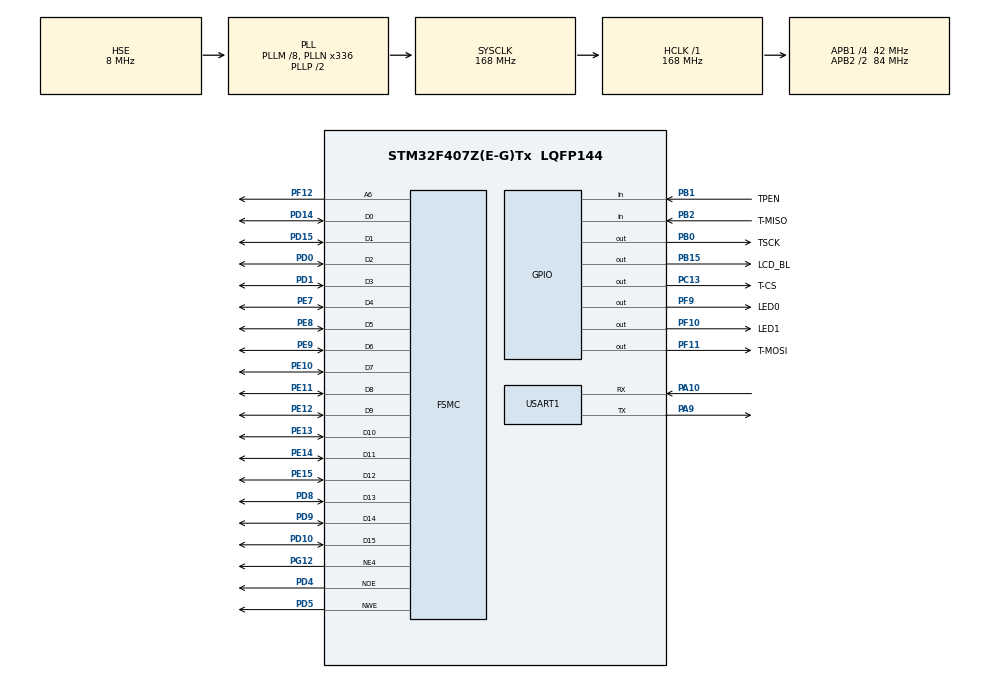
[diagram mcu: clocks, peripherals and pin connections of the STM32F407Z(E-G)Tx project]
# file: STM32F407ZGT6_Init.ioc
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FSMC.AddressSetupTime1=0x0F
FSMC.BusTurnAroundDuration1=0
FSMC.DataSetupTime1=60
FSMC.ExtendedAddressSetupTime1=9
FSMC.ExtendedBusTurnAroundDuration1=0
FSMC.ExtendedDataSetupTime1=9
FSMC.ExtendedMode1=FSMC_EXTENDED_MODE_ENABLE
Mcu.Family=STM32F4
Mcu.Name=STM32F407Z(E-G)Tx
Mcu.Package=LQFP144
NVIC.PriorityGroup=NVIC_PRIORITYGROUP_4
NVIC.USART1_IRQn=true\:2\:0\:true\:false\:true\:true\:true\:true
PA10.Mode=Asynchronous
PA10.Signal=USART1_RX
PA13.Mode=Serial_Wire
PA13.Signal=SYS_JTMS-SWDIO
PA14.Mode=Serial_Wire
PA14.Signal=SYS_JTCK-SWCLK
PA9.Mode=Asynchronous
PA9.Signal=USART1_TX
PB0.GPIO_Label=TSCK
PB0.Signal=GPIO_Output
PB1.GPIO_Label=TPEN
PB1.GPIO_PuPd=GPIO_PULLUP
PB1.Signal=GPIO_Input
PB15.GPIO_Label=LCD_BL
PB15.Signal=GPIO_Output
PB2.GPIO_Label=T-MISO
PB2.GPIO_PuPd=GPIO_PULLUP
PB2.Signal=GPIO_Input
PC13-ANTI_TAMP.GPIO_Label=T-CS
PC13-ANTI_TAMP.Signal=GPIO_Output
PD0.Signal=FSMC_D2_DA2
PD1.Signal=FSMC_D3_DA3
PD10.Signal=FSMC_D15_DA15
PD14.Signal=FSMC_D0_DA0
PD15.Signal=FSMC_D1_DA1
PD4.Signal=FSMC_NOE
PD5.Signal=FSMC_NWE
PD8.Signal=FSMC_D13_DA13
PD9.Signal=FSMC_D14_DA14
PE10.Signal=FSMC_D7_DA7
PE11.Signal=FSMC_D8_DA8
PE12.Signal=FSMC_D9_DA9
PE13.Signal=FSMC_D10_DA10
PE14.Signal=FSMC_D11_DA11
PE15.Signal=FSMC_D12_DA12
PE7.Signal=FSMC_D4_DA4
PE8.Signal=FSMC_D5_DA5
PE9.Signal=FSMC_D6_DA6
PF10.GPIO_Label=LED1
PF10.GPIO_PuPd=GPIO_PULLUP
PF10.Signal=GPIO_Output
PF11.GPIO_Label=T-MOSI
PF11.Signal=GPIO_Output
PF12.Signal=FSMC_A6
PF9.GPIO_Label=LED0
PF9.GPIO_PuPd=GPIO_PULLUP
PF9.Signal=GPIO_Output
PG12.Mode=NorPsramChipSelect4_1
PG12.Signal=FSMC_NE4
PH0-OSC_IN.Mode=HSE-External-Oscillator
PH0-OSC_IN.Signal=RCC_OSC_IN
PH1-OSC_OUT.Mode=HSE-External-Oscillator
PH1-OSC_OUT.Signal=RCC_OSC_OUT
ProjectManager.HeapSize=0x800
ProjectManager.StackSize=0x1000
ProjectManager.TargetToolchain=MDK-ARM V5.32
RCC.48MHZClocksFreq_Value=84000000
RCC.AHBFreq_Value=168000000
RCC.APB1CLKDivider=RCC_HCLK_DIV4
RCC.APB1Freq_Value=42000000
RCC.APB1TimFreq_Value=84000000
RCC.APB2CLKDivider=RCC_HCLK_DIV2
RCC.APB2Freq_Value=84000000
RCC.APB2TimFreq_Value=168000000
RCC.CortexFreq_Value=168000000
RCC.HCLKFreq_Value=168000000
RCC.HSE_VALUE=8000000
RCC.HSI_VALUE=16000000
RCC.LSE_VALUE=32768
RCC.PLLM=8
RCC.PLLN=336
RCC.PLLSourceVirtual=RCC_PLLSOURCE_HSE
RCC.SYSCLKFreq_VALUE=168000000
RCC.SYSCLKSource=RCC_SYSCLKSOURCE_PLLCLK
RCC.VCOOutputFreq_Value=336000000
SH.FSMC_A6.0=FSMC_A6,A6_1
SH.FSMC_D0_DA0.0=FSMC_D0,16b-d1
SH.FSMC_D10_DA10.0=FSMC_D10,16b-d1
SH.FSMC_D11_DA11.0=FSMC_D11,16b-d1
SH.FSMC_D12_DA12.0=FSMC_D12,16b-d1
SH.FSMC_D13_DA13.0=FSMC_D13,16b-d1
SH.FSMC_D14_DA14.0=FSMC_D14,16b-d1
SH.FSMC_D15_DA15.0=FSMC_D15,16b-d1
SH.FSMC_D1_DA1.0=FSMC_D1,16b-d1
SH.FSMC_D2_DA2.0=FSMC_D2,16b-d1
SH.FSMC_D3_DA3.0=FSMC_D3,16b-d1
SH.FSMC_D4_DA4.0=FSMC_D4,16b-d1
SH.FSMC_D5_DA5.0=FSMC_D5,16b-d1
SH.FSMC_D6_DA6.0=FSMC_D6,16b-d1
SH.FSMC_D7_DA7.0=FSMC_D7,16b-d1
SH.FSMC_D8_DA8.0=FSMC_D8,16b-d1
SH.FSMC_D9_DA9.0=FSMC_D9,16b-d1
SH.FSMC_NOE.0=FSMC_NOE,Lcd1
SH.FSMC_NWE.0=FSMC_NWE,Lcd1
TIM6.Prescaler=83
USART1.VirtualMode=VM_ASYNC
VP_TIM6_VS_ClockSourceINT.Mode=Enable_Timer
board=custom

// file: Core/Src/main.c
/* USER CODE BEGIN Header */
/**
  ******************************************************************************
  * @file           : main.c
  * @brief          : Main program body
  ******************************************************************************
  * @attention
  *
  * Copyright (c) 2024 STMicroelectronics.
  * All rights reserved.
  *
  * This software is licensed under terms that can be found in the LICENSE file
  * in the root directory of this software component.
  * If no LICENSE file comes with this software, it is provided AS-IS.
  *
  ******************************************************************************
  */
/* USER CODE END Header */
#include "main.h"
#include "tim.h"
#include "usart.h"
#include "gpio.h"
#include "fsmc.h"

/* USER CODE BEGIN Includes */
#include "lcd.h"
#include "touch.h"
/* USER CODE END Includes */

void SystemClock_Config(void);

int main(void)
{

  /* MCU Configuration--------------------------------------------------------*/

  /* Reset of all peripherals, Initializes the Flash interface and the Systick. */
  HAL_Init();

  /* Configure the system clock */
  SystemClock_Config();

  /* Initialize all configured peripherals */
  MX_GPIO_Init();
  MX_FSMC_Init();
  MX_USART1_UART_Init();
  MX_TIM6_Init();
  /* USER CODE BEGIN 2 */
	LCD_Init();
	// 开启串口接收中断
  HAL_UART_Receive_IT(&huart1, (uint8_t *)&usart1Recv.recvData, 1);
//	Demo_Menu();
  /* USER CODE END 2 */

  /* Infinite loop */
  /* USER CODE BEGIN WHILE */
  while (1)
  {
		if(TP_Scan(1))
			printf("x is 0x%X,y is 0x%X\r\n",tp_dev.x[0],tp_dev.y[0]);
		if(usart1Recv.recvFlag == 1)
		{
			usart1Recv.recvFlag = 0;
			if(strcmp(usart1Recv.recvBuff, "LED\r") == 0)
			{
				// 发送数据
				printf(usart1Recv.recvBuff);
				printf("temp is %d\r\n",temp);
				HAL_GPIO_TogglePin(LED0_GPIO_Port,LED0_Pin);
				HAL_GPIO_TogglePin(LED1_GPIO_Port,LED1_Pin);
			}
			// 发送数据
			printf("UART_FLAG\r\n");
			memset(usart1Recv.recvBuff,0,sizeof(usart1Recv.recvBuff));
		}
    /* USER CODE END WHILE */

  }
}

void SystemClock_Config(void)
{
  RCC_OscInitTypeDef RCC_OscInitStruct = {0};
  RCC_ClkInitTypeDef RCC_ClkInitStruct = {0};

  /** Configure the main internal regulator output voltage
  */
  __HAL_RCC_PWR_CLK_ENABLE();
  __HAL_PWR_VOLTAGESCALING_CONFIG(PWR_REGULATOR_VOLTAGE_SCALE1);

  /** Initializes the RCC Oscillators according to the specified parameters
  * in the RCC_OscInitTypeDef structure.
  */
  RCC_OscInitStruct.OscillatorType = RCC_OSCILLATORTYPE_HSE;
  RCC_OscInitStruct.HSEState = RCC_HSE_ON;
  RCC_OscInitStruct.PLL.PLLState = RCC_PLL_ON;
  RCC_OscInitStruct.PLL.PLLSource = RCC_PLLSOURCE_HSE;
  RCC_OscInitStruct.PLL.PLLM = 8;
  RCC_OscInitStruct.PLL.PLLN = 336;
  RCC_OscInitStruct.PLL.PLLP = RCC_PLLP_DIV2;
  RCC_OscInitStruct.PLL.PLLQ = 4;
  if (HAL_RCC_OscConfig(&RCC_OscInitStruct) != HAL_OK)
  {
    Error_Handler();
  }

  /** Initializes the CPU, AHB and APB buses clocks
  */
  RCC_ClkInitStruct.ClockType = RCC_CLOCKTYPE_HCLK|RCC_CLOCKTYPE_SYSCLK
                              |RCC_CLOCKTYPE_PCLK1|RCC_CLOCKTYPE_PCLK2;
  RCC_ClkInitStruct.SYSCLKSource = RCC_SYSCLKSOURCE_PLLCLK;
  RCC_ClkInitStruct.AHBCLKDivider = RCC_SYSCLK_DIV1;
  RCC_ClkInitStruct.APB1CLKDivider = RCC_HCLK_DIV4;
  RCC_ClkInitStruct.APB2CLKDivider = RCC_HCLK_DIV2;

  if (HAL_RCC_ClockConfig(&RCC_ClkInitStruct, FLASH_LATENCY_5) != HAL_OK)
  {
    Error_Handler();
  }
}

void Error_Handler(void)
{
  __disable_irq();
  while (1)
  {
  }
}
